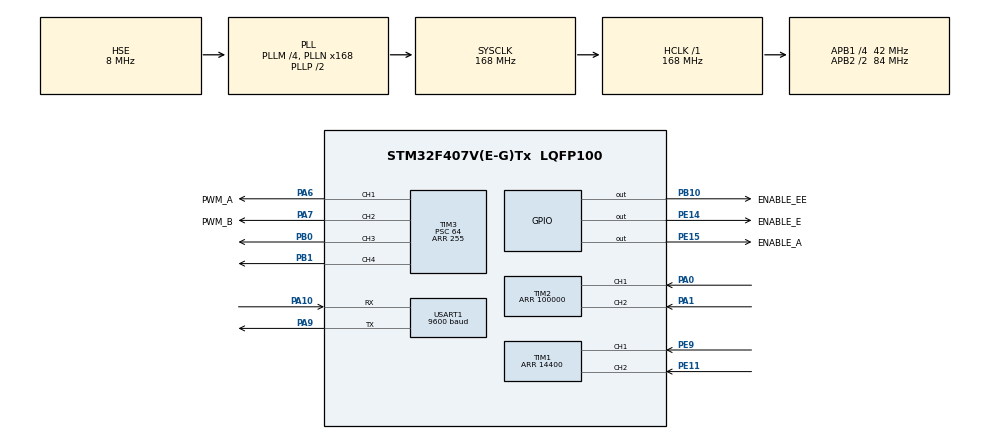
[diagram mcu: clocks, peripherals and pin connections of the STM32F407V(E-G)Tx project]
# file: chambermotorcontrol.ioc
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Mcu.Family=STM32F4
Mcu.Name=STM32F407V(E-G)Tx
Mcu.Package=LQFP100
NVIC.PriorityGroup=NVIC_PRIORITYGROUP_4
NVIC.USART1_IRQn=true\:0\:0\:false\:false\:true\:true\:true\:true
PA0-WKUP.Signal=S_TIM2_CH1_ETR
PA1.Signal=S_TIM2_CH2
PA10.Mode=Asynchronous
PA10.Signal=USART1_RX
PA13.Mode=Serial_Wire
PA13.Signal=SYS_JTMS-SWDIO
PA14.Mode=Serial_Wire
PA14.Signal=SYS_JTCK-SWCLK
PA6.GPIO_Label=PWM_A
PA6.Signal=S_TIM3_CH1
PA7.GPIO_Label=PWM_B
PA7.Signal=S_TIM3_CH2
PA9.Mode=Asynchronous
PA9.Signal=USART1_TX
PB0.Signal=S_TIM3_CH3
PB1.Signal=S_TIM3_CH4
PB10.GPIO_Label=ENABLE_EE
PB10.Signal=GPIO_Output
PE11.Signal=S_TIM1_CH2
PE14.GPIO_Label=ENABLE_E
PE14.Signal=GPIO_Output
PE15.GPIO_Label=ENABLE_A
PE15.Signal=GPIO_Output
PE9.Signal=S_TIM1_CH1
PH0-OSC_IN.Mode=HSE-External-Oscillator
PH0-OSC_IN.Signal=RCC_OSC_IN
PH1-OSC_OUT.Mode=HSE-External-Oscillator
PH1-OSC_OUT.Signal=RCC_OSC_OUT
ProjectManager.HeapSize=0x200
ProjectManager.StackSize=0x400
ProjectManager.TargetToolchain=STM32CubeIDE
RCC.48MHZClocksFreq_Value=48000000
RCC.AHBFreq_Value=168000000
RCC.APB1CLKDivider=RCC_HCLK_DIV4
RCC.APB1Freq_Value=42000000
RCC.APB1TimFreq_Value=84000000
RCC.APB2CLKDivider=RCC_HCLK_DIV2
RCC.APB2Freq_Value=84000000
RCC.APB2TimFreq_Value=168000000
RCC.CortexFreq_Value=168000000
RCC.HCLKFreq_Value=168000000
RCC.HSE_VALUE=8000000
RCC.HSI_VALUE=16000000
RCC.LSE_VALUE=32768
RCC.PLLM=4
RCC.PLLN=168
RCC.PLLQ=7
RCC.PLLSourceVirtual=RCC_PLLSOURCE_HSE
RCC.SYSCLKFreq_VALUE=168000000
RCC.SYSCLKSource=RCC_SYSCLKSOURCE_PLLCLK
RCC.VCOOutputFreq_Value=336000000
SH.S_TIM1_CH1.0=TIM1_CH1,Encoder_Interface
SH.S_TIM1_CH2.0=TIM1_CH2,Encoder_Interface
SH.S_TIM2_CH1_ETR.0=TIM2_CH1,Encoder_Interface
SH.S_TIM2_CH2.0=TIM2_CH2,Encoder_Interface
SH.S_TIM3_CH1.0=TIM3_CH1,PWM Generation1 CH1
SH.S_TIM3_CH2.0=TIM3_CH2,PWM Generation2 CH2
SH.S_TIM3_CH3.0=TIM3_CH3,PWM Generation3 CH3
SH.S_TIM3_CH4.0=TIM3_CH4,PWM Generation4 CH4
TIM1.EncoderMode=TIM_ENCODERMODE_TI12
TIM1.IC1Filter=15
TIM1.IC2Filter=15
TIM1.Period=14400
TIM2.ClockDivision=TIM_CLOCKDIVISION_DIV1
TIM2.EncoderMode=TIM_ENCODERMODE_TI12
TIM2.IC1Filter=15
TIM2.IC2Filter=15
TIM2.Period=100000
TIM3.Channel-PWM\ Generation1\ CH1=TIM_CHANNEL_1
TIM3.Channel-PWM\ Generation2\ CH2=TIM_CHANNEL_2
TIM3.Channel-PWM\ Generation3\ CH3=TIM_CHANNEL_3
TIM3.Channel-PWM\ Generation4\ CH4=TIM_CHANNEL_4
TIM3.Period=255
TIM3.Prescaler=64
USART1.BaudRate=9600
USART1.VirtualMode=VM_ASYNC
VP_TIM3_VS_ClockSourceINT.Mode=Internal
board=custom

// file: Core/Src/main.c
/* USER CODE BEGIN Header */
/**
  ******************************************************************************
  * @file           : main.c
  * @brief          : Main program body
  ******************************************************************************
  * @attention
  *
  * Copyright (c) 2024 STMicroelectronics.
  * All rights reserved.
  *
  * This software is licensed under terms that can be found in the LICENSE file
  * in the root directory of this software component.
  * If no LICENSE file comes with this software, it is provided AS-IS.
  *
  ******************************************************************************
  */
/* USER CODE END Header */
#include "main.h"

/* USER CODE BEGIN Includes */
#include "globalvars.h"
#include <string.h>
#include <stdio.h>
#include <stdbool.h>
#include <math.h>

/* USER CODE END Includes */

TIM_HandleTypeDef htim1;
TIM_HandleTypeDef htim2;
TIM_HandleTypeDef htim3;

UART_HandleTypeDef huart1;

/* USER CODE BEGIN PV */

void MYPROG_motor_control_loop();
void MYPROG_move_axis(int axis, int speed, int dir);
void MYPROG_disable_az();
void MYPROG_disable_el();

//global vars

// We will change the firmware version stuff later but for now we will just have it as a constant
#define FIRMWARE_VERSION "1.0.0"

int Az_pos;
int El_pos;

float Az_pos_deg;
float El_pos_deg;

int Az_speed =128;
int El_speed = 128;

float Azc =0;
float Elc =0;

float command_position_AZ=0;
float command_position_EL=0;

int move = 0;
int move_az =0;
int move_el = 0;

int mode =0;  // 0 is auto, 1 is manual

char rxBuffer[64];
char rxBuffer_command[64];
int buffn =0;
int command_read =0;
uint8_t buff;

void HAL_UART_RxCpltCallback(UART_HandleTypeDef *huart)
{
  //You need to toggle a breakpoint on this line!
  //HAL_UART_Transmit(&huart1, rxBuffer, 32, 100);

  if(buff == 'a')
  {
	 // MYPROG_move_axis(1,0xFF,0);
	  buff = 0;
	  command_read =0;
	  mode = 1;

  }else if(buff == 'd')
  {
	//  MYPROG_move_axis(1,0xFF,1);
	  buff = 0;
	  command_read =0;
	  mode = 1;
  }else if(buff == 'w')
  {
	//  MYPROG_move_axis(2,0xFF,1);
	  buff = 0;
	  command_read =0;
	  mode = 1;
  }else if(buff == 's')
  {
	//  MYPROG_move_axis(2,0xFF,0);
	  buff = 0;
	  command_read =0;
	  mode = 1;
  }else if (buff == 'p')
  {
	  command_read =0;
	  move = 0;
	  mode = 0;
	  buff =0;
	  MYPROG_disable_az();
	  MYPROG_disable_el();
  }else
  {

  if(buff != ';')
  {
      if (buffn < (sizeof(rxBuffer) - 1))
      {
          rxBuffer[buffn] = buff;
          buffn++;
          command_read = 0;
      }
      else
      {
          buffn = 0;
          memset(rxBuffer, 0, sizeof(rxBuffer));
          command_read = -1;
      }
      buff = 0;
  }else if(buff == ';')
  {
      memcpy(rxBuffer_command, rxBuffer, buffn);
      rxBuffer_command[buffn] = '\0';
      command_read = 1;
      buffn = 0;
      memset(rxBuffer, 0, sizeof(rxBuffer));
      buff = 0;
  }

  }
  buff = 0;
  HAL_UART_Receive_IT(&huart1, &buff, 1);

}

// Function to parse the input string and extract two float values
bool parse_mov_command(const char *input, float *x, float *y) {
    // Find the portion of the string after "CMD:MOV:"
    const char *start = strstr(input, "CMD:MOV:");
    if (start != NULL) {
        // Move the pointer past "CMD:MOV:"
        start += strlen("CMD:MOV:");
        // The receiver strips the terminating semicolon before this call.
        if (sscanf(start, "%f,%f", x, y) == 2) {
            return true;  // Parsing successful
        }
    }
    return false;  // Invalid format
}

bool parse_set_command(const char *input, float *x, float *y) {
    // Find the portion of the string after "CMD:SET:"
    const char *start = strstr(input, "CMD:SET:");
    if (start != NULL) {
        // Move the pointer past "CMD:SET:"
        start += strlen("CMD:SET:");
        // The receiver strips the terminating semicolon before this call.
        if (sscanf(start, "%f,%f", x, y) == 2) {
            return true;  // Parsing successful
        }
    }
    return false;  // Invalid format
}

bool is_info_command(const char *input)
{
  return strcmp(input, "CMD:INFO") == 0;
}

void MYPROG_SendInfo(void)
{

  char sendbuffer[160];
  const char *mode_text = (mode == 0) ? "Automatic" : "Manual";
  const char *movement_text = move ? "Moving" : "Idle";
  const char *az_status = !move ? "Idle" : (move_az ? "Reached" : "Moving");
  const char *el_status = !move ? "Idle" : (move_el ? "Reached" : "Moving");

  MYPROG_SendData("\r\n---- CHAMBER MOTOR CONTROLLER ----\r\n", strlen("\r\n---- CHAMBER MOTOR CONTROLLER ----\r\n"));

  snprintf(sendbuffer, sizeof(sendbuffer), "Firmware: %s\r\n", FIRMWARE_VERSION);
  MYPROG_SendData(sendbuffer, strlen(sendbuffer));

  snprintf(sendbuffer, sizeof(sendbuffer), "Mode: %s\r\n", mode_text);
  MYPROG_SendData(sendbuffer, strlen(sendbuffer));

  snprintf(sendbuffer, sizeof(sendbuffer), "Movement: %s\r\n", movement_text);
  MYPROG_SendData(sendbuffer, strlen(sendbuffer));

  snprintf(sendbuffer, sizeof(sendbuffer), "Azimuth: %.2f deg | Target: %.2f deg | Speed: %d | Encoder: %d\r\n",
            Az_pos_deg, command_position_AZ, Az_speed, Az_pos);
  MYPROG_SendData(sendbuffer, strlen(sendbuffer));

  snprintf(sendbuffer, sizeof(sendbuffer), "Elevation: %.2f deg | Target: %.2f deg | Speed: %d | Encoder: %d\r\n",
            El_pos_deg, command_position_EL, El_speed, El_pos);
  MYPROG_SendData(sendbuffer, strlen(sendbuffer));

  snprintf(sendbuffer, sizeof(sendbuffer), "Azimuth status: %s\r\n", az_status);
  MYPROG_SendData(sendbuffer, strlen(sendbuffer));

  snprintf(sendbuffer, sizeof(sendbuffer), "Elevation status: %s\r\n", el_status);
  MYPROG_SendData(sendbuffer, strlen(sendbuffer));

  MYPROG_SendData("===============================\r\n", strlen("===============================\r\n"));

}

/* USER CODE END PV */

void SystemClock_Config(void);
static void MX_GPIO_Init(void);
static void MX_TIM1_Init(void);
static void MX_TIM2_Init(void);
static void MX_TIM3_Init(void);
static void MX_USART1_UART_Init(void);

/* USER CODE BEGIN 0 */

//CDC_Receive_FS((uint8_t *)buffer,size);

void MYPROG_Delay(int milliseconds)
{
	HAL_Delay(milliseconds);
}

void MYPROG_enable_az()
{
	HAL_GPIO_WritePin(GPIOE, ENABLE_A_Pin, GPIO_PIN_SET);
}

void MYPROG_disable_az()
{
	HAL_GPIO_WritePin(GPIOE, ENABLE_A_Pin, GPIO_PIN_RESET);
	TIM3->CCR1 = 0;
	TIM3->CCR2 = 0;
	move_az = 0;
}

void MYPROG_enable_el()
{
	HAL_GPIO_WritePin(GPIOE, ENABLE_E_Pin, GPIO_PIN_SET);
	HAL_GPIO_WritePin(GPIOB, ENABLE_EE_Pin, GPIO_PIN_SET);
}

void MYPROG_disable_el()
{
	HAL_GPIO_WritePin(GPIOE, ENABLE_E_Pin, GPIO_PIN_RESET);
	HAL_GPIO_WritePin(GPIOB, ENABLE_EE_Pin, GPIO_PIN_RESET);
	TIM3->CCR4 = 0;
	TIM3->CCR3 = 0;
	move_el = 0;
}

void MYPROG_SendData(char * data, int size)
{
	 HAL_UART_Transmit(&huart1, (uint8_t *) data, size, 1000);
}

void MYPROG_GetData(char *buffer, int size)
{

}

void MYPROG_main_loop()
{
	float settimer1 =0;
	float settimer2 =0;
	char sendbuffer[42];

	Az_pos = TIM2->CNT;
	El_pos = TIM1->CNT;

	Az_pos_deg = (Az_pos - 43200)/240.0;
	El_pos_deg = (El_pos - 21600)/240.0;

	MYPROG_Delay(5);
	//MYPROG_SendData("ACK\n",3);

	if(command_read ==1)
	{
		//MYPROG_SendData("read command",10);
    if(is_info_command(rxBuffer_command))
    {
      MYPROG_SendInfo();
      command_read = 0;
    }
    else {

      if(parse_mov_command(rxBuffer_command,&Azc,&Elc))
      {
        move = 1;
        mode = 0;

      }else{
        move = 0;
      }

      if(parse_set_command(rxBuffer_command,&settimer1,&settimer2))
      {
        TIM1->CNT = (uint32_t)(21600 + (settimer2 * 240.0f)); // elevation
        TIM2->CNT = (uint32_t)(43200 + (settimer1 * 240.0f)); // azimuth
      }
    }

		//ftoa();
		Azc = Azc;
		Elc = Elc;
		snprintf(sendbuffer,42,"%.2f , %.2f \r\n",Azc,Elc);

		MYPROG_SendData(sendbuffer,42);
		command_read =0;

		command_position_AZ = Azc;//(Azc*240)+21600;
		command_position_EL = Elc;//(Elc*240)+21600;

		Az_speed = 255;
		El_speed = 255;
	}

	int target_reached = move_az && move_el;

	if(move && !target_reached && mode ==0)
			{
			MYPROG_motor_control_loop();
			}else if ( mode == 1)
			{
				move = 0;
			}else
			{
				//command_read =0;
					  move = 0;
					  //buff =0;
					  MYPROG_disable_az();
					  MYPROG_disable_el();
			}

	snprintf(sendbuffer,42,"Pos= El: %.2f , Az: %.2f \r\n",El_pos_deg,Az_pos_deg);
	MYPROG_SendData(sendbuffer,42);

	//MYPROG_SendData(rxBuffer_command,64);

	//MYPROG_move_axis(1, 128,1);
	//MYPROG_move_axis(2, 128,1);

}

void MYPROG_move_axis(int axis, int speed, int dir)
{
	// ch1 is AZ clockwise   ch2 is AZ counter clockwise
	// ch3 is EL clockwise   ch4 is EL counter clockwise
	//speed is PWM from 0 to 255;

	    if(axis ==1){
	    	MYPROG_disable_az();
	    	if(dir ==1){
	    	TIM3->CCR2 = 0;
	    	TIM3->CCR1 = speed;
	    	MYPROG_enable_az();
	    	}else{
	    	TIM3->CCR1 = 0;
	    	TIM3->CCR2 = speed;
	    	MYPROG_enable_az();
	    	}

	    }else if(axis ==2)
	    {
	    	MYPROG_disable_el();
	    	if(dir ==1){

	    	TIM3->CCR3 = speed;
	    	TIM3->CCR4 = 0;
	    	MYPROG_enable_el();
	    	}else{
	    	TIM3->CCR4 = speed;
	    	TIM3->CCR3 = 0;
	    	MYPROG_enable_el();
	    	}

	    }else{
	    	MYPROG_disable_el();
	    	MYPROG_disable_az();
	    	TIM3->CCR2 =0;
	    	TIM3->CCR1 =0;
	    	TIM3->CCR3 =0;
	    	TIM3->CCR4 =0;
	    }
}

void MYPROG_motor_control_loop()
{

	float devEl = fabs(El_pos_deg - command_position_EL);
	float devAz = fabs(Az_pos_deg - command_position_AZ);

	if(Az_pos_deg > (command_position_AZ-2) && Az_pos_deg < (command_position_AZ+2))
		{
			//set low speed
			Az_speed =devAz*78+99;
		}else {
			//set slew speed
			Az_speed = 255;
		}

	if(El_pos_deg > (command_position_EL-2) && El_pos_deg < (command_position_EL+2))
			{
				//set low speed
				El_speed = devEl*96+63;
			}else {
				//set slew speed
				El_speed = 255;
			}

	if(Az_pos_deg < (command_position_AZ-0.1))
	{
		//move right
		MYPROG_move_axis(1, Az_speed, 1);
		move_az = 0;
	}else if( Az_pos_deg>(command_position_AZ+0.1))
	{
		// move left
		MYPROG_move_axis(1, Az_speed, 0);
		move_az = 0;
	}else{
		//stop
		MYPROG_disable_az();
		move_az = 1;
	}

	if(El_pos_deg < (command_position_EL-0.1))
	{
		//move right
		MYPROG_move_axis(2, El_speed, 1);
		move_el =0;
	}else if( El_pos_deg>(command_position_EL+0.1))
	{
		// move left
		MYPROG_move_axis(2, El_speed, 0);
		move_el =0;
	}else{
		//stop
		 MYPROG_disable_el();
		 move_el =1;
	}

}

/* USER CODE END 0 */

int main(void)
{

  /* MCU Configuration--------------------------------------------------------*/

  /* Reset of all peripherals, Initializes the Flash interface and the Systick. */
  HAL_Init();

  /* Configure the system clock */
  SystemClock_Config();

  /* Initialize all configured peripherals */
  MX_GPIO_Init();
  MX_TIM1_Init();
  MX_TIM2_Init();
  MX_TIM3_Init();
  MX_USART1_UART_Init();
  /* USER CODE BEGIN 2 */

  	 TIM3->CCR1 = 0;
  	 TIM3->CCR2 =0;
    HAL_TIM_PWM_Start(&htim3, TIM_CHANNEL_1);
    HAL_TIM_PWM_Start(&htim3, TIM_CHANNEL_2);
    HAL_TIM_PWM_Start(&htim3, TIM_CHANNEL_3);
    HAL_TIM_PWM_Start(&htim3, TIM_CHANNEL_4);

    HAL_UART_Receive_IT(&huart1, &buff, 1);
    HAL_TIM_Encoder_Start(&htim2, TIM_CHANNEL_ALL);
    HAL_TIM_Encoder_Start(&htim1, TIM_CHANNEL_ALL);

    MYPROG_disable_el();
    MYPROG_disable_az();
  /* USER CODE END 2 */

  /* Infinite loop */
  while (1)
  {

    /* USER CODE BEGIN 3 */

	  MYPROG_main_loop();

  }
  /* USER CODE END 3 */
}

void SystemClock_Config(void)
{
  RCC_OscInitTypeDef RCC_OscInitStruct = {0};
  RCC_ClkInitTypeDef RCC_ClkInitStruct = {0};

  /** Configure the main internal regulator output voltage
  */
  __HAL_RCC_PWR_CLK_ENABLE();
  __HAL_PWR_VOLTAGESCALING_CONFIG(PWR_REGULATOR_VOLTAGE_SCALE1);

  /** Initializes the RCC Oscillators according to the specified parameters
  * in the RCC_OscInitTypeDef structure.
  */
  RCC_OscInitStruct.OscillatorType = RCC_OSCILLATORTYPE_HSE;
  RCC_OscInitStruct.HSEState = RCC_HSE_ON;
  RCC_OscInitStruct.PLL.PLLState = RCC_PLL_ON;
  RCC_OscInitStruct.PLL.PLLSource = RCC_PLLSOURCE_HSE;
  RCC_OscInitStruct.PLL.PLLM = 4;
  RCC_OscInitStruct.PLL.PLLN = 168;
  RCC_OscInitStruct.PLL.PLLP = RCC_PLLP_DIV2;
  RCC_OscInitStruct.PLL.PLLQ = 7;
  if (HAL_RCC_OscConfig(&RCC_OscInitStruct) != HAL_OK)
  {
    Error_Handler();
  }

  /** Initializes the CPU, AHB and APB buses clocks
  */
  RCC_ClkInitStruct.ClockType = RCC_CLOCKTYPE_HCLK|RCC_CLOCKTYPE_SYSCLK
                              |RCC_CLOCKTYPE_PCLK1|RCC_CLOCKTYPE_PCLK2;
  RCC_ClkInitStruct.SYSCLKSource = RCC_SYSCLKSOURCE_PLLCLK;
  RCC_ClkInitStruct.AHBCLKDivider = RCC_SYSCLK_DIV1;
  RCC_ClkInitStruct.APB1CLKDivider = RCC_HCLK_DIV4;
  RCC_ClkInitStruct.APB2CLKDivider = RCC_HCLK_DIV2;

  if (HAL_RCC_ClockConfig(&RCC_ClkInitStruct, FLASH_LATENCY_5) != HAL_OK)
  {
    Error_Handler();
  }
}

static void MX_TIM1_Init(void)
{

  TIM_Encoder_InitTypeDef sConfig = {0};
  TIM_MasterConfigTypeDef sMasterConfig = {0};

  htim1.Instance = TIM1;
  htim1.Init.Prescaler = 0;
  htim1.Init.CounterMode = TIM_COUNTERMODE_UP;
  htim1.Init.Period = 14400;
  htim1.Init.ClockDivision = TIM_CLOCKDIVISION_DIV1;
  htim1.Init.RepetitionCounter = 0;
  htim1.Init.AutoReloadPreload = TIM_AUTORELOAD_PRELOAD_DISABLE;
  sConfig.EncoderMode = TIM_ENCODERMODE_TI12;
  sConfig.IC1Polarity = TIM_ICPOLARITY_RISING;
  sConfig.IC1Selection = TIM_ICSELECTION_DIRECTTI;
  sConfig.IC1Prescaler = TIM_ICPSC_DIV1;
  sConfig.IC1Filter = 15;
  sConfig.IC2Polarity = TIM_ICPOLARITY_RISING;
  sConfig.IC2Selection = TIM_ICSELECTION_DIRECTTI;
  sConfig.IC2Prescaler = TIM_ICPSC_DIV1;
  sConfig.IC2Filter = 15;
  if (HAL_TIM_Encoder_Init(&htim1, &sConfig) != HAL_OK)
  {
    Error_Handler();
  }
  sMasterConfig.MasterOutputTrigger = TIM_TRGO_RESET;
  sMasterConfig.MasterSlaveMode = TIM_MASTERSLAVEMODE_DISABLE;
  if (HAL_TIMEx_MasterConfigSynchronization(&htim1, &sMasterConfig) != HAL_OK)
  {
    Error_Handler();
  }

}

static void MX_TIM2_Init(void)
{

  TIM_Encoder_InitTypeDef sConfig = {0};
  TIM_MasterConfigTypeDef sMasterConfig = {0};

  htim2.Instance = TIM2;
  htim2.Init.Prescaler = 0;
  htim2.Init.CounterMode = TIM_COUNTERMODE_UP;
  htim2.Init.Period = 100000;
  htim2.Init.ClockDivision = TIM_CLOCKDIVISION_DIV1;
  htim2.Init.AutoReloadPreload = TIM_AUTORELOAD_PRELOAD_DISABLE;
  sConfig.EncoderMode = TIM_ENCODERMODE_TI12;
  sConfig.IC1Polarity = TIM_ICPOLARITY_RISING;
  sConfig.IC1Selection = TIM_ICSELECTION_DIRECTTI;
  sConfig.IC1Prescaler = TIM_ICPSC_DIV1;
  sConfig.IC1Filter = 15;
  sConfig.IC2Polarity = TIM_ICPOLARITY_RISING;
  sConfig.IC2Selection = TIM_ICSELECTION_DIRECTTI;
  sConfig.IC2Prescaler = TIM_ICPSC_DIV1;
  sConfig.IC2Filter = 15;
  if (HAL_TIM_Encoder_Init(&htim2, &sConfig) != HAL_OK)
  {
    Error_Handler();
  }
  sMasterConfig.MasterOutputTrigger = TIM_TRGO_RESET;
  sMasterConfig.MasterSlaveMode = TIM_MASTERSLAVEMODE_DISABLE;
  if (HAL_TIMEx_MasterConfigSynchronization(&htim2, &sMasterConfig) != HAL_OK)
  {
    Error_Handler();
  }

}

static void MX_TIM3_Init(void)
{

  TIM_ClockConfigTypeDef sClockSourceConfig = {0};
  TIM_MasterConfigTypeDef sMasterConfig = {0};
  TIM_OC_InitTypeDef sConfigOC = {0};

  htim3.Instance = TIM3;
  htim3.Init.Prescaler = 64;
  htim3.Init.CounterMode = TIM_COUNTERMODE_UP;
  htim3.Init.Period = 255;
  htim3.Init.ClockDivision = TIM_CLOCKDIVISION_DIV1;
  htim3.Init.AutoReloadPreload = TIM_AUTORELOAD_PRELOAD_DISABLE;
  if (HAL_TIM_Base_Init(&htim3) != HAL_OK)
  {
    Error_Handler();
  }
  sClockSourceConfig.ClockSource = TIM_CLOCKSOURCE_INTERNAL;
  if (HAL_TIM_ConfigClockSource(&htim3, &sClockSourceConfig) != HAL_OK)
  {
    Error_Handler();
  }
  if (HAL_TIM_PWM_Init(&htim3) != HAL_OK)
  {
    Error_Handler();
  }
  sMasterConfig.MasterOutputTrigger = TIM_TRGO_RESET;
  sMasterConfig.MasterSlaveMode = TIM_MASTERSLAVEMODE_DISABLE;
  if (HAL_TIMEx_MasterConfigSynchronization(&htim3, &sMasterConfig) != HAL_OK)
  {
    Error_Handler();
  }
  sConfigOC.OCMode = TIM_OCMODE_PWM1;
  sConfigOC.Pulse = 0;
  sConfigOC.OCPolarity = TIM_OCPOLARITY_HIGH;
  sConfigOC.OCFastMode = TIM_OCFAST_DISABLE;
  if (HAL_TIM_PWM_ConfigChannel(&htim3, &sConfigOC, TIM_CHANNEL_1) != HAL_OK)
  {
    Error_Handler();
  }
  if (HAL_TIM_PWM_ConfigChannel(&htim3, &sConfigOC, TIM_CHANNEL_2) != HAL_OK)
  {
    Error_Handler();
  }
  if (HAL_TIM_PWM_ConfigChannel(&htim3, &sConfigOC, TIM_CHANNEL_3) != HAL_OK)
  {
    Error_Handler();
  }
  if (HAL_TIM_PWM_ConfigChannel(&htim3, &sConfigOC, TIM_CHANNEL_4) != HAL_OK)
  {
    Error_Handler();
  }
  HAL_TIM_MspPostInit(&htim3);

}

static void MX_USART1_UART_Init(void)
{

  huart1.Instance = USART1;
  huart1.Init.BaudRate = 9600;
  huart1.Init.WordLength = UART_WORDLENGTH_8B;
  huart1.Init.StopBits = UART_STOPBITS_1;
  huart1.Init.Parity = UART_PARITY_NONE;
  huart1.Init.Mode = UART_MODE_TX_RX;
  huart1.Init.HwFlowCtl = UART_HWCONTROL_NONE;
  huart1.Init.OverSampling = UART_OVERSAMPLING_16;
  if (HAL_UART_Init(&huart1) != HAL_OK)
  {
    Error_Handler();
  }

}

static void MX_GPIO_Init(void)
{
  GPIO_InitTypeDef GPIO_InitStruct = {0};

  /* GPIO Ports Clock Enable */
  __HAL_RCC_GPIOH_CLK_ENABLE();
  __HAL_RCC_GPIOA_CLK_ENABLE();
  __HAL_RCC_GPIOB_CLK_ENABLE();
  __HAL_RCC_GPIOE_CLK_ENABLE();

  /*Configure GPIO pin Output Level */
  HAL_GPIO_WritePin(GPIOE, ENABLE_E_Pin|ENABLE_A_Pin, GPIO_PIN_RESET);

  /*Configure GPIO pin Output Level */
  HAL_GPIO_WritePin(ENABLE_EE_GPIO_Port, ENABLE_EE_Pin, GPIO_PIN_RESET);

  /*Configure GPIO pins : ENABLE_E_Pin ENABLE_A_Pin */
  GPIO_InitStruct.Pin = ENABLE_E_Pin|ENABLE_A_Pin;
  GPIO_InitStruct.Mode = GPIO_MODE_OUTPUT_PP;
  GPIO_InitStruct.Pull = GPIO_NOPULL;
  GPIO_InitStruct.Speed = GPIO_SPEED_FREQ_LOW;
  HAL_GPIO_Init(GPIOE, &GPIO_InitStruct);

  /*Configure GPIO pin : ENABLE_EE_Pin */
  GPIO_InitStruct.Pin = ENABLE_EE_Pin;
  GPIO_InitStruct.Mode = GPIO_MODE_OUTPUT_PP;
  GPIO_InitStruct.Pull = GPIO_NOPULL;
  GPIO_InitStruct.Speed = GPIO_SPEED_FREQ_LOW;
  HAL_GPIO_Init(ENABLE_EE_GPIO_Port, &GPIO_InitStruct);

}

void Error_Handler(void)
{
  __disable_irq();
  while (1)
  {
  }
}
